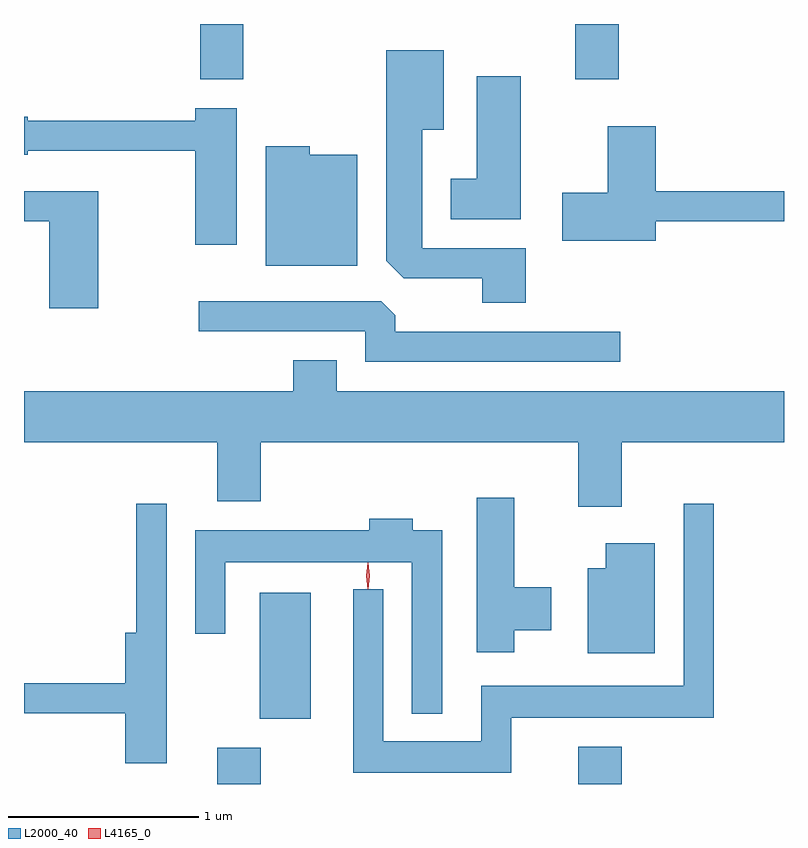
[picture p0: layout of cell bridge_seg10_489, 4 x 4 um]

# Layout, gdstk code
import gdstk
lib = gdstk.Library(unit=1e-6, precision=1e-09)
def R(c, l, rs):  # rectangles x0, y0, x1, y1
    for r in rs: c.add(gdstk.rectangle(r[:2], r[2:], *l))
def P(c, l, *ps):  # polygons
    for p in ps: c.add(gdstk.Polygon(p, *l))
L2000_40 = (2000, 40)
L4165_0 = (4165, 0)

bridge_seg10_489 = lib.new_cell('bridge_seg10_489')
R(bridge_seg10_489, L2000_40, [(857.731,2163.178,857.959,2163.369), (859.631,2163.178,859.859,2163.374), (857.956,2163.521,858.224,2164.184), (857.641,2166.886,857.869,2167.178), (859.616,2166.886,859.844,2167.178)])
P(bridge_seg10_489, L2000_40, [(859.354,2165.999),(858.809,2165.999),(858.809,2166.621),(858.924,2166.621),(858.924,2167.039),(858.621,2167.039),(858.621,2165.932),(858.712,2165.841),(859.126,2165.841),(859.126,2165.711),(859.354,2165.711)],
  [(859.329,2166.904),(859.096,2166.904),(859.096,2166.364),(858.961,2166.364),(858.961,2166.151),(859.329,2166.151)],
  [(857.834,2166.734),(857.616,2166.734),(857.616,2166.669),(856.734,2166.669),(856.734,2166.689),(856.714,2166.689),(856.714,2166.491),(856.734,2166.491),(856.734,2166.511),(857.616,2166.511),(857.616,2166.016),(857.834,2166.016)],
  [(860.039,2166.141),(860.714,2166.141),(860.714,2166.299),(860.039,2166.299),(860.039,2166.639),(859.786,2166.639),(859.786,2166.289),(859.546,2166.289),(859.546,2166.036),(860.039,2166.036)],
  [(858.469,2166.489),(858.219,2166.489),(858.219,2166.534),(857.986,2166.534),(857.986,2165.906),(858.469,2165.906)],
  [(857.104,2166.299),(856.714,2166.299),(856.714,2166.141),(856.846,2166.141),(856.846,2165.681),(857.104,2165.681)],
  [(859.853,2165.559),(858.669,2165.559),(858.669,2165.644),(858.594,2165.719),(857.633,2165.719),(857.633,2165.561),(858.511,2165.561),(858.511,2165.401),(859.853,2165.401)],
  [(859.859,2164.976),(860.714,2164.976),(860.714,2165.244),(858.359,2165.244),(858.359,2165.409),(858.131,2165.409),(858.131,2165.244),(856.714,2165.244),(856.714,2164.976),(857.731,2164.976),(857.731,2164.666),(857.959,2164.666),(857.959,2164.976),(859.631,2164.976),(859.631,2164.636),(859.859,2164.636)],
  [(859.294,2163.986),(859.489,2163.986),(859.489,2164.214),(859.294,2164.214),(859.294,2164.684),(859.096,2164.684),(859.096,2163.871),(859.294,2163.871)],
  [(857.464,2164.653),(857.306,2164.653),(857.306,2163.974),(857.246,2163.974),(857.246,2163.709),(856.714,2163.709),(856.714,2163.551),(857.246,2163.551),(857.246,2163.286),(857.464,2163.286)],
  [(859.279,2163.526),(860.344,2163.526),(860.344,2164.653),(860.186,2164.653),(860.186,2163.694),(859.121,2163.694),(859.121,2163.404),(858.604,2163.404),(858.604,2164.203),(858.446,2164.203),(858.446,2163.236),(859.279,2163.236)],
  [(858.914,2164.514),(858.759,2164.514),(858.759,2164.574),(858.531,2164.574),(858.531,2164.514),(857.616,2164.514),(857.616,2163.968),(857.774,2163.968),(857.774,2164.346),(858.756,2164.346),(858.756,2163.548),(858.914,2163.548)],
  [(860.034,2164.444),(859.776,2164.444),(859.776,2164.314),(859.681,2164.314),(859.681,2163.866),(860.034,2163.866)])
P(bridge_seg10_489, L4165_0, [(858.524,2164.204),(858.515,2164.274),(858.524,2164.342),(858.525,2164.343),(858.525,2164.342),(858.535,2164.274),(858.525,2164.204),(858.525,2164.204)],
  [(858.524,2164.207),(858.515,2164.274),(858.524,2164.34),(858.525,2164.34),(858.525,2164.34),(858.535,2164.274),(858.525,2164.207),(858.525,2164.207)])

lib.write_gds('bridge_seg10_489.gds')
